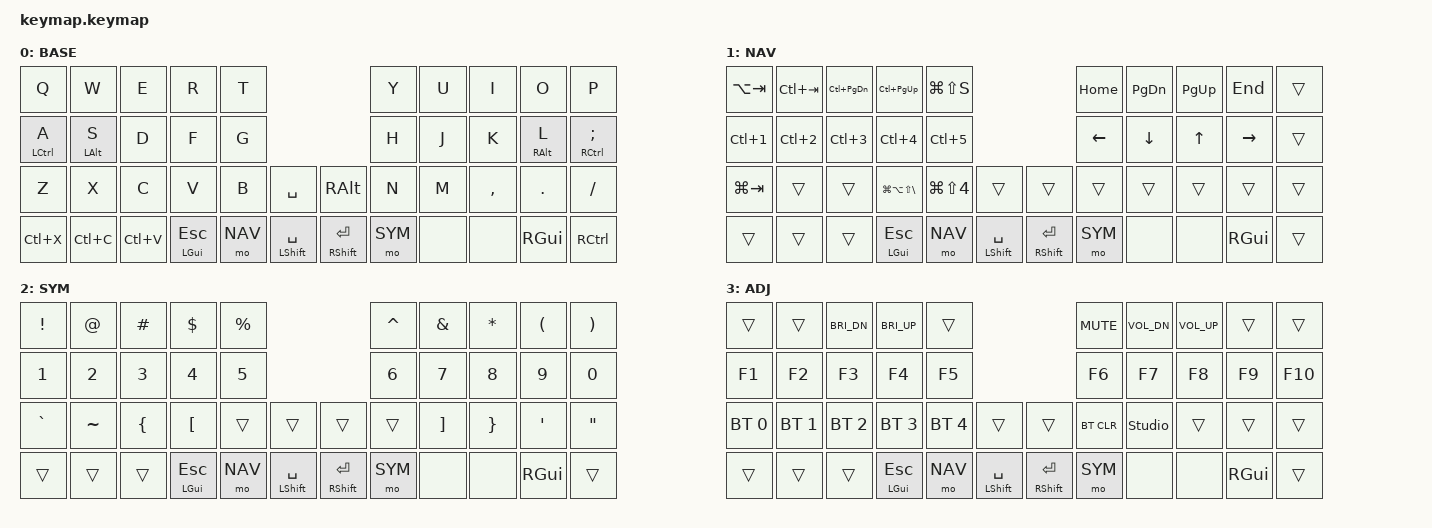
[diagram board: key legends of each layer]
#include <behaviors.dtsi>
#include <dt-bindings/zmk/bt.h>
#include <dt-bindings/zmk/keys.h>
#include <dt-bindings/zmk/outputs.h>
#include <dt-bindings/zmk/pointing.h>

#define BASE 0
#define NAV 1
#define SYM 2
#define ADJ 3

// key-positions:
//   00 01 02 03 04              05 06 07 08 09
//   10 11 12 13 14              15 16 17 18 19
//   20 21 22 23 24 25        26 27 28 29 30 31
//   32 33 34 35 36 37        38 39 -- -- 42 43

/ {
    hmr_r: hmr_r {
        compatible = "zmk,behavior-hold-tap";
        label = "HMR_R";
        bindings = <&kp>, <&kp>;

        #binding-cells = <2>;
        tapping-term-ms = <200>;
        flavor = "balanced";
        hold-trigger-key-positions = <0 1 2 3 4 10 11 12 13 14 20 21 22 23 24 25 32 33 34 35 36 37>;
        hold-trigger-on-release;
        require-prior-idle-ms = <150>;
    };

    hmr_r2: hmr_r2 {
        compatible = "zmk,behavior-hold-tap";
        label = "HMR_R2";
        bindings = <&kp>, <&kp>;

        #binding-cells = <2>;
        tapping-term-ms = <200>;
        flavor = "balanced";
        hold-trigger-key-positions = <0 1 2 3 4 10 11 12 13 14 20 21 22 23 24 25 32 33 34 35 36 37>;
        hold-trigger-on-release;
        require-prior-idle-ms = <150>;
        hold-while-undecided;
    };

    hmr_l: hmr_l {
        compatible = "zmk,behavior-hold-tap";
        label = "HMR_L";
        bindings = <&kp>, <&kp>;

        #binding-cells = <2>;
        tapping-term-ms = <200>;
        flavor = "balanced";
        hold-trigger-key-positions = <5 6 7 8 9 15 16 17 18 19 26 27 28 29 30 31 38 39 42 43>;
        hold-trigger-on-release;
        require-prior-idle-ms = <150>;
    };

    hmr_l2: hmr_l2 {
        compatible = "zmk,behavior-hold-tap";
        label = "HMR_L2";
        bindings = <&kp>, <&kp>;

        #binding-cells = <2>;
        tapping-term-ms = <200>;
        flavor = "balanced";
        hold-trigger-key-positions = <5 6 7 8 9 15 16 17 18 19 26 27 28 29 30 31 38 39 42 43>;
        hold-trigger-on-release;
        require-prior-idle-ms = <150>;
        hold-while-undecided;
    };

    conditional_layers {
        compatible = "zmk,conditional-layers";

        tri_layer {
            if-layers = <NAV SYM>;
            then-layer = <ADJ>;
        };
    };

    combos {
        compatible = "zmk,combos";

        combo_mouse_left {
            timeout-ms = <30>;
            key-positions = <3 13>;
            bindings = <&mkp MB1>;
        };

        combo_mouse_right {
            timeout-ms = <30>;
            key-positions = <4 14>;
            bindings = <&mkp MB2>;
        };

        combo_mouse_left2 {
            timeout-ms = <30>;
            key-positions = <16 28>;
            bindings = <&mkp MB1>;
        };

        combo_mouse_right2 {
            timeout-ms = <30>;
            key-positions = <17 29>;
            bindings = <&mkp MB2>;
        };

        combo_minus {
            timeout-ms = <30>;
            key-positions = <17 18>;
            bindings = <&kp MINUS>;
            layers = <BASE>;
        };

        combo_equal {
            timeout-ms = <30>;
            key-positions = <7 8>;
            bindings = <&kp EQUAL>;
            layers = <BASE>;
        };

        combo_backslash {
            timeout-ms = <30>;
            key-positions = <28 29>;
            bindings = <&kp BSLH>;
            layers = <BASE>;
        };

        combo_f11 {
            timeout-ms = <30>;
            key-positions = <10 11>;
            bindings = <&kp F11>;
            layers = <ADJ>;
        };

        combo_f12 {
            timeout-ms = <30>;
            key-positions = <12 13>;
            bindings = <&kp F12>;
            layers = <ADJ>;
        };

        combo_num_plus {
            timeout-ms = <30>;
            key-positions = <2 3>;
            bindings = <&kp PLUS>;
            layers = <SYM>;
        };

        combo_num_minus {
            timeout-ms = <30>;
            key-positions = <12 13>;
            bindings = <&kp MINUS>;
            layers = <SYM>;
        };

        combo_num_asterisk {
            timeout-ms = <30>;
            key-positions = <6 7>;
            bindings = <&kp STAR>;
            layers = <SYM>;
        };

        combo_num_slash {
            timeout-ms = <30>;
            key-positions = <16 17>;
            bindings = <&kp FSLH>;
            layers = <SYM>;
        };

        combo_num_colon {
            timeout-ms = <30>;
            key-positions = <17 18>;
            bindings = <&kp COLON>;
            layers = <SYM>;
        };

        combo_TAB {
            timeout-ms = <30>;
            key-positions = <11 12>;
            bindings = <&kp TAB>;
        };

        combo_DEL {
            timeout-ms = <30>;
            key-positions = <12 13>;
            bindings = <&kp DEL>;
        };

        combo_BSPC {
            timeout-ms = <30>;
            key-positions = <15 16>;
            bindings = <&kp BSPC>;
        };

        combo_LANG2 {
            timeout-ms = <30>;
            key-positions = <11 13>;
            bindings = <&kp LANG2>;
        };

        combo_LANG1 {
            timeout-ms = <30>;
            key-positions = <16 18>;
            bindings = <&kp LANG1>;
        };

        combo_LEADER {
            timeout-ms = <30>;
            key-positions = <6 16>;
            bindings = <&kp LC(J)>;
        };

    };

    keymap {
        compatible = "zmk,keymap";

        base {
            display-name = "BASE";
            bindings = <
&kp Q            &kp W         &kp E     &kp R        &kp T                                   &kp Y    &kp U    &kp I      &kp O          &kp P
&hmr_r2 LCTRL A  &hmr_l LALT S &kp D     &kp F        &kp G                                   &kp H    &kp J    &kp K      &hmr_r RALT L  &hmr_r2 RCTRL SEMI
&kp Z            &kp X         &kp C     &kp V        &kp B    &kp SPACE        &kp RALT      &kp N    &kp M    &kp COMMA  &kp DOT        &kp FSLH
&kp LC(X)        &kp LC(C)     &kp LC(V) &mt LGUI ESC &mo NAV  &mt LSHFT SPACE  &mt RSHFT RET &mo SYM  &none    &none      &kp RGUI       &kp RCTRL
            >;
        };

        nav {
            display-name = "NAV";
            bindings = <
&kp LA(TAB) &kp LC(TAB) &kp LC(PG_DN) &kp LC(PG_UP)        &kp LG(LS(S))                                  &kp HOME &kp PG_DN &kp PG_UP &kp END   &trans
&kp LC(N1)  &kp LC(N2)      &kp LC(N3)    &kp LC(N4)           &kp LC(N5)                                     &kp LEFT &kp DOWN  &kp UP    &kp RIGHT &trans
&kp LG(TAB) &trans          &trans        &kp LG(LA(LS(BSLH))) &kp LG(LS(N4)) &trans            &trans        &trans   &trans    &trans    &trans    &trans
&trans      &trans          &trans        &mt LGUI ESC         &mo NAV        &mt LSHFT SPACE   &mt RSHFT RET &mo SYM  &none     &none     &kp RGUI  &trans
            >;
        };

        sym {
            display-name = "SYM";
            bindings = <
&kp EXCL   &kp AT    &kp HASH &kp DLLR      &kp PRCNT                                 &kp CARET &kp AMPS  &kp STAR  &kp LPAR  &kp RPAR
&kp N1     &kp N2    &kp N3   &kp N4        &kp N5                                    &kp N6    &kp N7    &kp N8    &kp N9    &kp N0
&kp GRAVE  &kp TILDE &kp LBRC &kp LBKT      &trans    &trans            &trans        &trans    &kp RBKT  &kp RBRC  &kp SQT   &kp DQT
&trans     &trans    &trans   &mt LGUI ESC  &mo NAV   &mt LSHFT SPACE   &mt RSHFT RET &mo SYM   &none     &none     &kp RGUI  &trans
            >;
        };

        adj {
            display-name = "ADJ";
            bindings = <
&trans        &trans       &kp C_BRI_DN &kp C_BRI_UP &trans                                      &kp C_MUTE &kp C_VOL_DN   &kp C_VOL_UP  &trans   &trans
&kp F1        &kp F2       &kp F3       &kp F4       &kp F5                                      &kp F6     &kp F7         &kp F8        &kp F9   &kp F10
&bt BT_SEL 0  &bt BT_SEL 1 &bt BT_SEL 2 &bt BT_SEL 3 &bt BT_SEL 4 &trans           &trans        &bt BT_CLR &studio_unlock &trans        &trans   &trans
&trans        &trans       &trans       &mt LGUI ESC &mo NAV      &mt LSHFT SPACE  &mt RSHFT RET &mo SYM    &none          &none         &kp RGUI &trans
            >;
        };

        extra_2 { status = "reserved"; };

        extra_1 { status = "reserved"; };
    };
};
